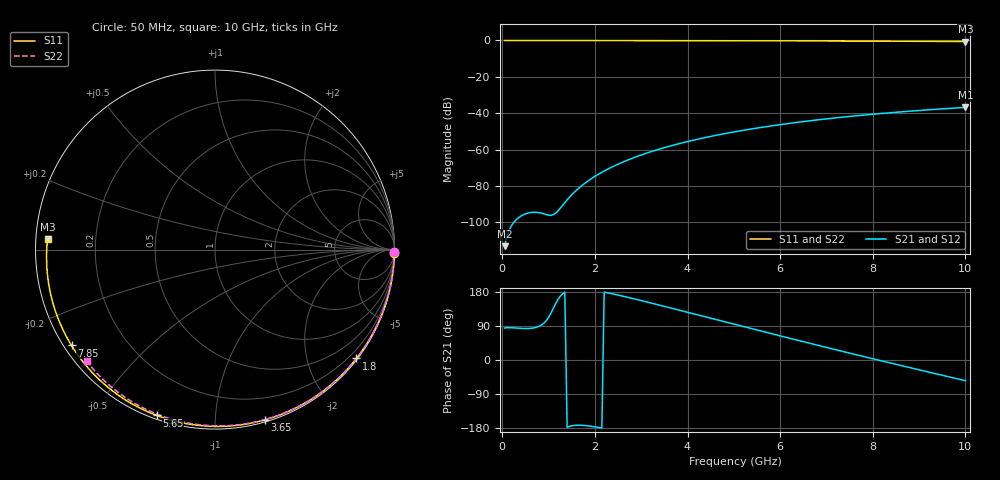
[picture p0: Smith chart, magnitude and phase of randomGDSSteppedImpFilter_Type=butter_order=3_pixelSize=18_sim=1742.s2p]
! freq	dB(S11)	phase(S11)	dB(S12)	phase(S12)
!  dB(S21)	phase(S21)	dB(S22)	phase(S22)
!S-par simulation data
#  GHz  S  DB  R 50
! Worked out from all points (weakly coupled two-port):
!   200 points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, 50 MHz to 10 GHz, reference 50 ohm
!   highest |S21| = -36.82 dB at 10 GHz (marker M1); lowest = -113.2 dB at 50 MHz (marker M2)
!   lowest |S11| = -0.6 dB at 10 GHz (marker M3), VSWR 29.75, Z = 1.68 + j1.55 ohm
!   |S11| at or under -10 dB: nowhere
!   |S22| runs from -0.5 to 0.0 dB; largest |S21 - S12| = 0
!   S11 on the Smith chart (normalised r, x): 50 MHz: open; 1.8 GHz: 0.03, -2.94; 3.65 GHz: 0.02, -1.33; 5.65 GHz: 0.02, -0.71; 7.85 GHz: 0.02, -0.30; 10 GHz: 0.03, +0.03
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0.05  -0.00 -1.1  -113.19 84.4  -113.19 84.4  -0.00 -0.8
0.45  -0.01 -9.6  -95.96 83.2  -95.96 83.2  -0.01 -7.2
0.85  -0.02 -18.0  -95.07 92.6  -95.07 92.6  -0.02 -13.6
1.25  -0.03 -26.3  -92.37 167.9  -92.37 167.9  -0.03 -19.9
1.7  -0.05 -35.5  -80.23 -172.2  -80.23 -172.2  -0.03 -27.0
1.75  -0.05 -36.6  -79.21 -172.6  -79.21 -172.6  -0.04 -27.8
1.8  -0.05 -37.6  -78.24 -173.1  -78.24 -173.1  -0.04 -28.5
2.1  -0.06 -43.6  -73.25 -178.4  -73.25 -178.4  -0.04 -33.2
2.5  -0.07 -51.6  -68.06 171.4  -68.06 171.4  -0.05 -39.3
2.9  -0.08 -59.4  -63.92 159.8  -63.92 159.8  -0.06 -45.3
3.4  -0.09 -69.0  -59.71 144.6  -59.71 144.6  -0.07 -52.8
3.65  -0.10 -73.7  -57.91 136.8  -57.91 136.8  -0.08 -56.4
4.35  -0.12 -86.5  -53.59 114.9  -53.59 114.9  -0.10 -66.5
5.05  -0.15 -99.0  -50.11 93.1  -50.11 93.1  -0.12 -76.3
5.65  -0.18 -109.4  -47.61 74.4  -47.61 74.4  -0.14 -84.4
6.15  -0.21 -117.9  -45.79 59.0  -45.79 59.0  -0.16 -91.0
6.7  -0.25 -127.1  -44.02 42.2  -44.02 42.2  -0.19 -98.2
7.3  -0.29 -137.1  -42.32 24.1  -42.32 24.1  -0.23 -105.8
7.85  -0.34 -146.2  -40.95 7.7  -40.95 7.7  -0.27 -112.7
8.35  -0.39 -154.6  -39.83 -7.0  -39.83 -7.0  -0.30 -118.9
9.2  -0.49 -169.2  -38.16 -31.7  -38.16 -31.7  -0.38 -129.2
10  -0.58 176.4  -36.82 -54.6  -36.82 -54.6  -0.47 -138.9
